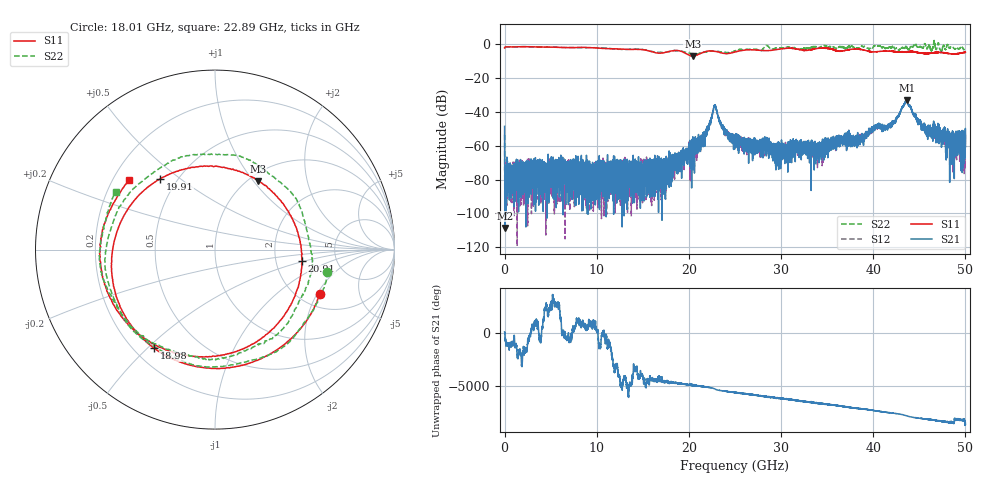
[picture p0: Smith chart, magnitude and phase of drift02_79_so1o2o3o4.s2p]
!Created with skrf (http://scikit-rf.org).
# Hz S RI R 50.0
!freq ReS11 ImS11 ReS21 ImS21 ReS12 ImS12 ReS22 ImS22
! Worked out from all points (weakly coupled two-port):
!   10001 points, 300 kHz to 50 GHz, reference 50 ohm
!   highest |S21| = -32.81 dB at 43.64 GHz (marker M1); lowest = -108.6 dB at 40.3 MHz (marker M2)
!   lowest |S11| = -6.9 dB at 20.41 GHz (marker M3), VSWR 2.64, Z = 55.1 + j52.7 ohm
!   |S11| at or under -10 dB: nowhere
!   |S22| runs from -5.7 to 2.3 dB; largest |S21 - S12| = 0.0044
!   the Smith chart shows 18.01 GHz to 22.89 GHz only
!   S11 on the Smith chart (normalised r, x): 18.01 GHz: 2.55, -2.12; 18.98 GHz: 0.28, -0.52; 19.91 GHz: 0.40, +0.43; 20.91 GHz: 2.83, -0.48; 22.89 GHz: 0.27, +0.33
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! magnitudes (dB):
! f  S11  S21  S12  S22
! 300 kHz  -2.1  -48.5  -53.3  -2.1
! 40.3 MHz  -1.7  -108.6  -80.2  -1.7
! 275.3 MHz  -1.4  -68.1  -74.2  -1.4
! 8.335 GHz  -1.7  -78.6  -73.7  -1.9
! 16.67 GHz  -5.2  -71.3  -76.5  -4.7
! 18.01 GHz  -4.0  -67.4  -73.8  -3.9
! 18.98 GHz  -3.8  -65.1  -70.3  -3.9
! 19.91 GHz  -6.0  -63.5  -64.0  -5.2
! 20.41 GHz  -6.9  -66.4  -67.6  -5.4
! 20.91 GHz  -6.2  -63.7  -57.6  -5.6
! 21.88 GHz  -4.2  -52.8  -50.2  -4.2
! 22.89 GHz  -4.2  -36.8  -36.7  -3.9
! 23.77 GHz  -5.3  -50.4  -50.5  -4.6
! 25 GHz  -4.5  -55.0  -55.2  -3.9
! 29.52 GHz  -3.1  -64.2  -59.0  -2.0
! 33.34 GHz  -3.0  -59.4  -63.9  -1.5
! 38.41 GHz  -2.8  -55.9  -56.0  -2.1
! 40.43 GHz  -4.3  -48.3  -49.4  -1.0
! 41.67 GHz  -3.9  -48.8  -48.2  -2.0
! 43.64 GHz  -4.3  -32.8  -33.3  -1.9
! 45.71 GHz  -5.4  -49.6  -49.5  -0.9
! 50 GHz  -4.6  -57.5  -62.3  -2.7
